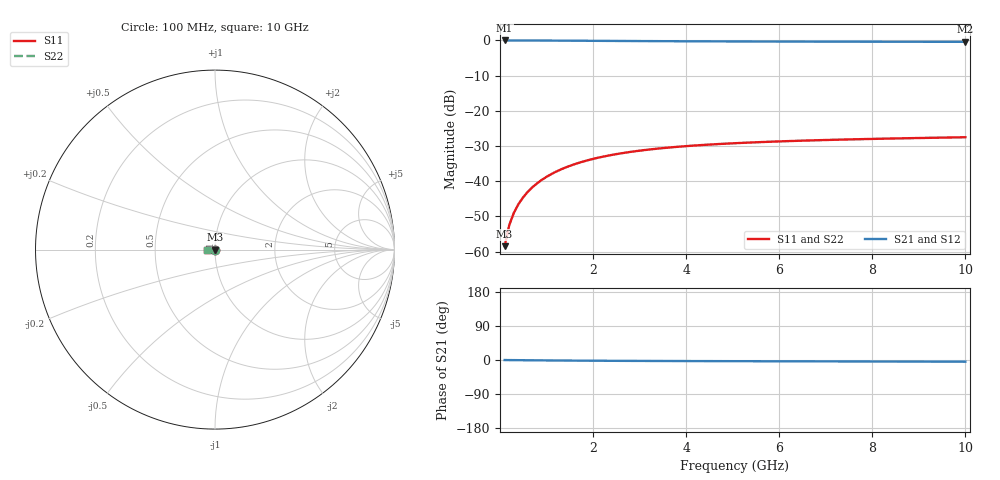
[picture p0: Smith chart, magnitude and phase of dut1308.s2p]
! Touchstone file exported from HFSS 2024.1.0
!  File:  C:/UserFiles/LocalFiles/RDL_TSV_Batchsim/temp_TSV1_1308_1780373138.aedt
!  Generated:  12:13:00 PM Jun  2, 2026
!  Design:  TSV1
!  Project:  temp_TSV1_1308_1780373138
!  Setup:  Setup1
!  Solution:  Sweep
! Variables:
!  dtsv = 11.92um
!  hbump = 3um
!  htsv = 67.62um
!  lrdl = 252.1521522um
!  p = 40
!  p1 = 53.99um
!  t = 500um
!  trdl = 3um
!  wrdl = 24.89489489um
# GHz S MA R 50.000000
! Terminal data exported
! Port[1] = TSV22_T1
! Port[2] = TSV22_T2
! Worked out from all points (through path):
!   100 points, 100 MHz to 10 GHz, reference 50 ohm
!   highest |S21| = 0.00 dB at 100 MHz (marker M1); lowest = -0.4 dB at 10 GHz (marker M2)
!   lowest |S11| = -58.4 dB at 100 MHz (marker M3), VSWR 1.00, Z = 50 - j0.12 ohm
!   |S11| at or under -10 dB: start of sweep to end of sweep
!   |S22| runs from -58.4 to -27.5 dB; largest |S21 - S12| = 4.2e-15
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0.1  0.001197 -87.5  0.9999 -0.1  0.9999 -0.1  0.001197 -87.5
! Gamma 0 0 0 0
! Port Impedance 50 0 50 0
0.2  0.00239 -91.4  0.9997 -0.2  0.9997 -0.2  0.00239 -91.4
0.3  0.003581 -93.9  0.9995 -0.3  0.9995 -0.3  0.003581 -93.9
0.4  0.004768 -96.1  0.9992 -0.5  0.9992 -0.5  0.004768 -96.1
0.5  0.005944 -98.2  0.9989 -0.6  0.9989 -0.6  0.005944 -98.2
0.6  0.007106 -100.2  0.9984 -0.7  0.9984 -0.7  0.007106 -100.2
0.7  0.008251 -102.1  0.998 -0.8  0.998 -0.8  0.008251 -102.1
0.8  0.009376 -104.0  0.9974 -0.9  0.9974 -0.9  0.009376 -104.0
0.9  0.01048 -105.9  0.9968 -1.0  0.9968 -1.0  0.01048 -105.9
1.1  0.01261 -109.5  0.9955 -1.2  0.9955 -1.2  0.01261 -109.5
1.4  0.0156 -114.7  0.9932 -1.4  0.9932 -1.4  0.0156 -114.7
1.6  0.01744 -117.9  0.9916 -1.6  0.9916 -1.6  0.01744 -117.9
1.8  0.01917 -121.0  0.9899 -1.8  0.9899 -1.8  0.01917 -121.0
2.1  0.02153 -125.4  0.9873 -2.0  0.9873 -2.0  0.02153 -125.4
2.5  0.02429 -130.7  0.9839 -2.2  0.9839 -2.2  0.02429 -130.7
2.9  0.02666 -135.6  0.9808 -2.4  0.9808 -2.4  0.02666 -135.6
3.4  0.02913 -141.0  0.9772 -2.6  0.9772 -2.6  0.02913 -141.0
4.2  0.03224 -148.4  0.9723 -2.9  0.9723 -2.9  0.03224 -148.4
5.1  0.03484 -155.3  0.968 -3.1  0.968 -3.1  0.03484 -155.3
6.7  0.03808 -165.2  0.9626 -3.6  0.9626 -3.6  0.03808 -165.2
8.4  0.04045 -173.5  0.9588 -4.0  0.9588 -4.0  0.04045 -173.5
10  0.04219 179.9  0.9564 -4.5  0.9564 -4.5  0.04219 179.9
